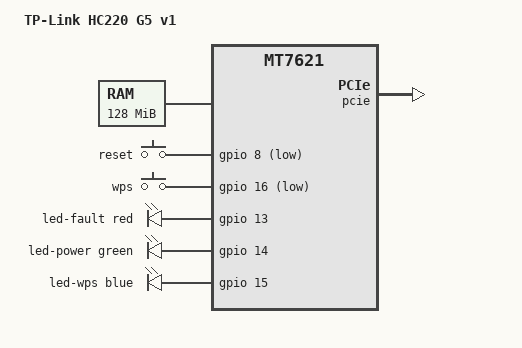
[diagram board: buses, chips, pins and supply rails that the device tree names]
// SPDX-License-Identifier: (GPL-2.0-only OR BSD-2-Clause)
/dts-v1/;

#include "mt7621.dtsi"

#include <dt-bindings/gpio/gpio.h>
#include <dt-bindings/input/input.h>
#include <dt-bindings/leds/common.h>

/ {
	compatible = "tplink,hc220-g5-v1", "mediatek,mt7621-soc";
	model = "TP-Link HC220 G5 v1";

	memory@0 {
		device_type = "memory";
		reg = <0x00000000 0x08000000>;
	};

	chosen {
		bootargs = "earlycon console=ttyS0,115200 root=/dev/nfs ip=192.168.88.2:192.168.88.5:192.168.88.5:255.255.255.0:hc220_g5::none nfsroot=192.168.88.5:/mips,vers=4 ro rootwait";
	};

	gpio-keys {
		compatible = "gpio-keys";

		key-reset {
			label = "reset";
			gpios = <&gpio 8 GPIO_ACTIVE_LOW>;
			linux,code = <KEY_RESTART>;
		};

		key-wps {
			label = "wps";
			gpios = <&gpio 16 GPIO_ACTIVE_LOW>;
			linux,code = <KEY_WPS_BUTTON>;
		};
	};

	leds {
		compatible = "gpio-leds";

		led-fault {
			color = <LED_COLOR_ID_RED>;
			function = LED_FUNCTION_FAULT;
			gpios = <&gpio 13 GPIO_ACTIVE_HIGH>;
		};

		led-power {
			color = <LED_COLOR_ID_GREEN>;
			function = LED_FUNCTION_POWER;
			gpios = <&gpio 14 GPIO_ACTIVE_HIGH>;
			linux,default-trigger = "default-on";
		};

		led-wps {
			color = <LED_COLOR_ID_BLUE>;
			function = LED_FUNCTION_WPS;
			gpios = <&gpio 15 GPIO_ACTIVE_HIGH>;
		};
	};
};

&pcie {
	status = "okay";
};

&gmac0 {
	mac-address = [28 87 ba 0f ea 1b];
};

&gmac1 {
	mac-address = [28 87 ba 0f ea 1b];
};

&switch0 {
	ports {
		port@0 {
			status = "okay";
			label = "lan2";
		};

		port@1 {
			status = "okay";
			label = "lan1";
		};

		port@2 {
			status = "okay";
			label = "wan";
		};
	};
};
